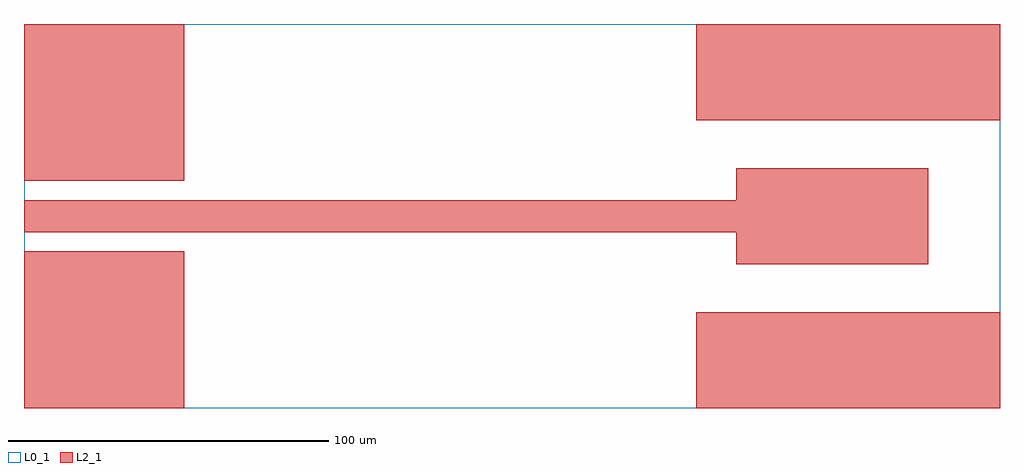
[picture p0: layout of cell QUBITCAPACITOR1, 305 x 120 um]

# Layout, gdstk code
import gdstk
lib = gdstk.Library(unit=1e-6, precision=1e-09)
def R(c, l, rs):  # rectangles x0, y0, x1, y1
    for r in rs: c.add(gdstk.rectangle(r[:2], r[2:], *l))
L0_1 = (0, 1)
L2_1 = (2, 1)

qubitcapacitor1 = lib.new_cell('QUBITCAPACITOR1')
R(qubitcapacitor1, L0_1, [(-152.5,-60,152.5,60)])
R(qubitcapacitor1, L2_1, [(-152.5,-60,-102.5,-11), (57.5,-60,152.5,-30), (70,-15,130,15), (-152.5,11,-102.5,60), (57.5,30,152.5,60)])
qubitcapacitor1.add(gdstk.FlexPath([(-152.5,0),(110,0)], 10, ends="flush", simple_path=True, layer=2, datatype=1))  # L2_1

lib.write_gds('QUBITCAPACITOR1.gds')
